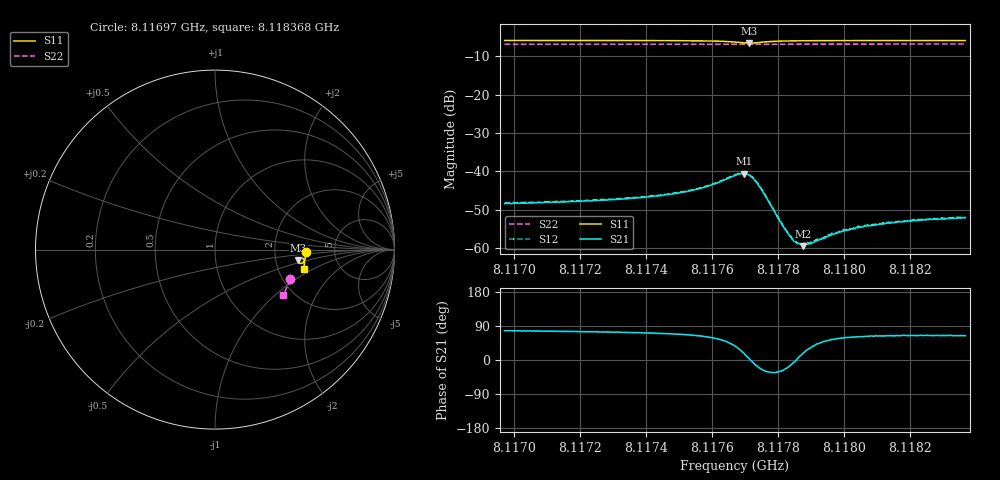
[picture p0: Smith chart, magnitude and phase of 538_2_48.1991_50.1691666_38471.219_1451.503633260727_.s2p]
#  HZ  S  RI  R  50.00
! Rohde & Schwarz Vector Network Analyzer
! Rohde-Schwarz,ZNB20-2Port,1311601062101988,3.16
! Created: UTC 3/20/2024, 12:00:10 PM
! freq[Hz]  re:S11  im:S11  re:S21  im:S21  re:S12  im:S12  re:S22  im:S22
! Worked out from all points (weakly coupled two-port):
!   401 points, 8.11697 GHz to 8.118368 GHz, reference 50 ohm
!   highest |S21| = -40.57 dB at 8.117697 GHz (marker M1); lowest = -59.5 dB at 8.117875 GHz (marker M2)
!   lowest |S11| = -6.6 dB at 8.117711 GHz (marker M3), VSWR 2.76, Z = 134 - j20.6 ohm
!   |S11| at or under -10 dB: nowhere
!   |S22| runs from -6.9 to -6.8 dB; largest |S21 - S12| = 0.00029
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8.1169704e9  0.5064 -0.0134  0.000839 0.0037  0.000908 0.00377  0.4195 -0.1665
8.1172045e9  0.5051 -0.0321  0.00107 0.00393  0.00116 0.00401  0.4138 -0.1819
8.1174385e9  0.502 -0.0525  0.00162 0.0045  0.00169 0.00461  0.4075 -0.197
8.1175642e9  0.4969 -0.0663  0.00268 0.00538  0.00277 0.00543  0.4036 -0.2052
8.1176131e9  0.4914 -0.073  0.00388 0.00583  0.004 0.00591  0.4019 -0.2084
8.117669e9  0.4759 -0.0768  0.00709 0.00531  0.00725 0.00535  0.3996 -0.2117
8.117697e9  0.4653 -0.0684  0.00893 0.00281  0.00915 0.00271  0.3984 -0.213
8.1177109e9  0.4639 -0.06  0.00897 0.000758  0.00912 0.000668  0.398 -0.2133
8.1177284e9  0.4683 -0.0507  0.00759 -0.00142  0.00773 -0.0015  0.3979 -0.2139
8.1177459e9  0.4764 -0.0464  0.00563 -0.00232  0.00578 -0.00242  0.3978 -0.215
8.1178157e9  0.4949 -0.0555  0.00172 -0.000862  0.00173 -0.000896  0.3964 -0.2197
8.1178367e9  0.4968 -0.0591  0.00138 -0.00034  0.00139 -0.000398  0.3957 -0.2213
8.1178507e9  0.4974 -0.0614  0.00121 -0.000118  0.00121 -8.73e-05  0.3954 -0.2222
8.1178577e9  0.4977 -0.0625  0.00114 6.31e-05  0.00117 5.75e-05  0.3952 -0.2225
8.1178751e9  0.4983 -0.0649  0.00101 0.000318  0.0011 0.000326  0.3947 -0.2237
8.1179031e9  0.4986 -0.0685  0.000954 0.000675  0.000969 0.000675  0.3938 -0.2256
8.1179555e9  0.4988 -0.0745  0.00088 0.00115  0.000937 0.00117  0.3921 -0.2289
8.1180044e9  0.4985 -0.0793  0.000868 0.00148  0.000909 0.00147  0.3903 -0.232
8.1180672e9  0.4978 -0.0852  0.000905 0.00173  0.000922 0.00174  0.3883 -0.2358
8.1181371e9  0.497 -0.0911  0.000933 0.00192  0.000948 0.00196  0.3859 -0.2402
8.1182349e9  0.4954 -0.0992  0.000971 0.0021  0.001 0.00214  0.3824 -0.2461
8.1183676e9  0.4933 -0.1096  0.00109 0.00223  0.00111 0.00227  0.3777 -0.2541
